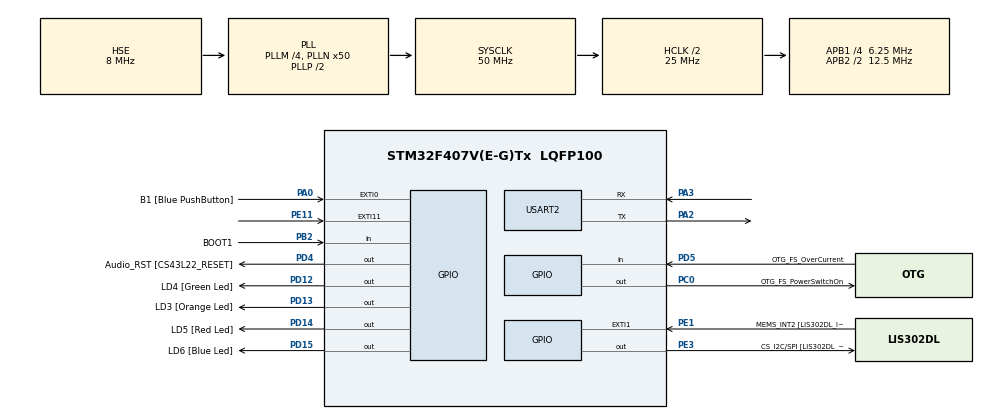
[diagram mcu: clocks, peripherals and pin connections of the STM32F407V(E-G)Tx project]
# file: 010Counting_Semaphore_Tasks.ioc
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Mcu.Family=STM32F4
Mcu.Name=STM32F407V(E-G)Tx
Mcu.Package=LQFP100
NVIC.EXTI15_10_IRQn=true\:6\:0\:true\:false\:true\:true\:false\:true
NVIC.PriorityGroup=NVIC_PRIORITYGROUP_4
NVIC.TIM6_DAC_IRQn=true\:0\:0\:false\:false\:true\:false\:true\:true
NVIC.TimeBase=TIM6_DAC_IRQn
NVIC.TimeBaseIP=TIM6
PA0-WKUP.GPIO_Label=B1 [Blue PushButton]
PA0-WKUP.GPIO_ModeDefaultEXTI=GPIO_MODE_IT_FALLING
PA0-WKUP.Signal=GPXTI0
PA10.GPIO_Label=OTG_FS_ID
PA10.GPIO_Mode=GPIO_MODE_AF_PP
PA10.GPIO_PuPd=GPIO_NOPULL
PA10.GPIO_Speed=GPIO_SPEED_FREQ_LOW
PA10.Signal=USB_OTG_FS_ID
PA11.GPIO_Label=OTG_FS_DM
PA11.GPIO_Mode=GPIO_MODE_AF_PP
PA11.GPIO_PuPd=GPIO_NOPULL
PA11.GPIO_Speed=GPIO_SPEED_FREQ_LOW
PA11.Signal=USB_OTG_FS_DM
PA12.GPIO_Label=OTG_FS_DP
PA12.GPIO_Mode=GPIO_MODE_AF_PP
PA12.GPIO_PuPd=GPIO_NOPULL
PA12.GPIO_Speed=GPIO_SPEED_FREQ_LOW
PA12.Signal=USB_OTG_FS_DP
PA13.GPIO_Label=SWDIO
PA13.Signal=SYS_JTMS-SWDIO
PA14.GPIO_Label=SWCLK
PA14.Signal=SYS_JTCK-SWCLK
PA2.Mode=Asynchronous
PA2.Signal=USART2_TX
PA3.Mode=Asynchronous
PA3.Signal=USART2_RX
PA4.GPIO_Label=I2S3_WS [CS43L22_LRCK]
PA4.GPIO_Mode=GPIO_MODE_AF_PP
PA4.GPIO_PuPd=GPIO_NOPULL
PA4.GPIO_Speed=GPIO_SPEED_FREQ_LOW
PA4.Signal=I2S3_WS
PA5.GPIO_Label=SPI1_SCK [LIS302DL_SCL/SPC]
PA5.GPIO_Mode=GPIO_MODE_AF_PP
PA5.GPIO_PuPd=GPIO_NOPULL
PA5.GPIO_Speed=GPIO_SPEED_FREQ_LOW
PA5.Signal=SPI1_SCK
PA6.GPIO_Label=SPI1_MISO [LIS302DL_SDO]
PA6.GPIO_Mode=GPIO_MODE_AF_PP
PA6.GPIO_PuPd=GPIO_NOPULL
PA6.GPIO_Speed=GPIO_SPEED_FREQ_LOW
PA6.Signal=SPI1_MISO
PA7.GPIO_Label=SPI1_MOSI [LIS302DL_SDA/SDI/SDO]
PA7.GPIO_Mode=GPIO_MODE_AF_PP
PA7.GPIO_PuPd=GPIO_NOPULL
PA7.GPIO_Speed=GPIO_SPEED_FREQ_LOW
PA7.Signal=SPI1_MOSI
PA9.GPIO_Label=VBUS_FS
PA9.GPIO_Mode=GPIO_MODE_INPUT
PA9.GPIO_PuPd=GPIO_NOPULL
PA9.Signal=USB_OTG_FS_VBUS
PB10.GPIO_Label=CLK_IN [MP45DT02_CLK]
PB10.GPIO_Mode=GPIO_MODE_AF_PP
PB10.GPIO_PuPd=GPIO_NOPULL
PB10.GPIO_Speed=GPIO_SPEED_FREQ_LOW
PB10.Signal=I2S2_CK
PB2.GPIO_Label=BOOT1
PB2.GPIO_Mode=GPIO_MODE_INPUT
PB2.GPIO_PuPd=GPIO_NOPULL
PB2.Signal=GPIO_Input
PB3.GPIO_Label=SWO
PB3.Signal=SYS_JTDO-SWO
PB6.GPIO_Label=Audio_SCL [CS43L22_SCL]
PB6.GPIO_Mode=GPIO_MODE_AF_OD
PB6.GPIO_PuPd=GPIO_NOPULL
PB6.GPIO_Speed=GPIO_SPEED_FREQ_LOW
PB6.Signal=I2C1_SCL
PB9.GPIO_Label=Audio_SDA [CS43L22_SDA]
PB9.GPIO_Mode=GPIO_MODE_AF_OD
PB9.GPIO_PuPd=GPIO_NOPULL
PB9.GPIO_Speed=GPIO_SPEED_FREQ_LOW
PB9.Signal=I2C1_SDA
PC0.GPIO_Label=OTG_FS_PowerSwitchOn
PC0.GPIO_PuPd=GPIO_NOPULL
PC0.GPIO_Speed=GPIO_SPEED_FREQ_LOW
PC0.PinState=GPIO_PIN_SET
PC0.Signal=GPIO_Output
PC10.GPIO_Label=I2S3_SCK [CS43L22_SCLK]
PC10.GPIO_Mode=GPIO_MODE_AF_PP
PC10.GPIO_PuPd=GPIO_NOPULL
PC10.GPIO_Speed=GPIO_SPEED_FREQ_LOW
PC10.Signal=I2S3_CK
PC12.GPIO_Label=I2S3_SD [CS43L22_SDIN]
PC12.GPIO_Mode=GPIO_MODE_AF_PP
PC12.GPIO_PuPd=GPIO_NOPULL
PC12.GPIO_Speed=GPIO_SPEED_FREQ_LOW
PC12.Signal=I2S3_SD
PC14-OSC32_IN.GPIO_Label=PC14-OSC32_IN
PC14-OSC32_IN.Signal=RCC_OSC32_IN
PC15-OSC32_OUT.GPIO_Label=PC15-OSC32_OUT
PC15-OSC32_OUT.Signal=RCC_OSC32_OUT
PC3.GPIO_Label=PDM_OUT [MP45DT02_DOUT]
PC3.GPIO_Mode=GPIO_MODE_AF_PP
PC3.GPIO_PuPd=GPIO_NOPULL
PC3.GPIO_Speed=GPIO_SPEED_FREQ_LOW
PC3.Signal=I2S2_SD
PC7.GPIO_Label=I2S3_MCK [CS43L22_MCLK]
PC7.GPIO_Mode=GPIO_MODE_AF_PP
PC7.GPIO_PuPd=GPIO_NOPULL
PC7.GPIO_Speed=GPIO_SPEED_FREQ_LOW
PC7.Signal=I2S3_MCK
PD12.GPIO_Label=LD4 [Green Led]
PD12.GPIO_PuPd=GPIO_NOPULL
PD12.GPIO_Speed=GPIO_SPEED_FREQ_LOW
PD12.Signal=GPIO_Output
PD13.GPIO_Label=LD3 [Orange Led]
PD13.GPIO_PuPd=GPIO_NOPULL
PD13.GPIO_Speed=GPIO_SPEED_FREQ_LOW
PD13.Signal=GPIO_Output
PD14.GPIO_Label=LD5 [Red Led]
PD14.GPIO_PuPd=GPIO_NOPULL
PD14.GPIO_Speed=GPIO_SPEED_FREQ_LOW
PD14.Signal=GPIO_Output
PD15.GPIO_Label=LD6 [Blue Led]
PD15.GPIO_ModeDefaultOutputPP=GPIO_MODE_OUTPUT_PP
PD15.GPIO_PuPd=GPIO_NOPULL
PD15.GPIO_Speed=GPIO_SPEED_FREQ_LOW
PD15.Signal=GPIO_Output
PD4.GPIO_Label=Audio_RST [CS43L22_RESET]
PD4.GPIO_PuPd=GPIO_NOPULL
PD4.GPIO_Speed=GPIO_SPEED_FREQ_LOW
PD4.Signal=GPIO_Output
PD5.GPIO_Label=OTG_FS_OverCurrent
PD5.GPIO_Mode=GPIO_MODE_INPUT
PD5.GPIO_PuPd=GPIO_NOPULL
PD5.Signal=GPIO_Input
PE1.GPIO_Label=MEMS_INT2 [LIS302DL_INT2]
PE1.GPIO_ModeDefaultEXTI=GPIO_MODE_EVT_RISING
PE1.GPIO_PuPd=GPIO_NOPULL
PE1.Signal=GPXTI1
PE11.Signal=GPXTI11
PE3.GPIO_Label=CS_I2C/SPI [LIS302DL_CS_I2C/SPI]
PE3.GPIO_PuPd=GPIO_NOPULL
PE3.GPIO_Speed=GPIO_SPEED_FREQ_LOW
PE3.Signal=GPIO_Output
PH0-OSC_IN.GPIO_Label=PH0-OSC_IN
PH0-OSC_IN.Mode=HSE-External-Oscillator
PH0-OSC_IN.Signal=RCC_OSC_IN
PH1-OSC_OUT.GPIO_Label=PH1-OSC_OUT
PH1-OSC_OUT.Mode=HSE-External-Oscillator
PH1-OSC_OUT.Signal=RCC_OSC_OUT
ProjectManager.HeapSize=0x200
ProjectManager.StackSize=0x400
ProjectManager.TargetToolchain=STM32CubeIDE
RCC.48MHZClocksFreq_Value=14285714.285714285
RCC.AHBCLKDivider=RCC_SYSCLK_DIV2
RCC.AHBFreq_Value=25000000
RCC.APB1CLKDivider=RCC_HCLK_DIV4
RCC.APB1Freq_Value=6250000
RCC.APB1TimFreq_Value=12500000
RCC.APB2CLKDivider=RCC_HCLK_DIV2
RCC.APB2Freq_Value=12500000
RCC.APB2TimFreq_Value=25000000
RCC.CortexFreq_Value=25000000
RCC.HCLKFreq_Value=25000000
RCC.HSE_VALUE=8000000
RCC.HSI_VALUE=16000000
RCC.LSE_VALUE=32768
RCC.PLLM=4
RCC.PLLN=50
RCC.PLLQ=7
RCC.PLLSourceVirtual=RCC_PLLSOURCE_HSE
RCC.SYSCLKFreq_VALUE=50000000
RCC.SYSCLKSource=RCC_SYSCLKSOURCE_PLLCLK
RCC.VCOOutputFreq_Value=100000000
USART2.VirtualMode=VM_ASYNC
VP_SYS_VS_tim6.Mode=TIM6
board=STM32F407G-DISC1

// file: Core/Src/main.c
/* USER CODE BEGIN Header */
/**
  ******************************************************************************
  * @file           : main.c
  * @brief          : Main program body
  ******************************************************************************
  * @attention
  *
  * Copyright (c) 2024 STMicroelectronics.
  * All rights reserved.
  *
  * This software is licensed under terms that can be found in the LICENSE file
  * in the root directory of this software component.
  * If no LICENSE file comes with this software, it is provided AS-IS.
  *
  ******************************************************************************
  */
/* USER CODE END Header */
#include "main.h"

/* USER CODE BEGIN Includes */
#include <stdio.h>
#include <string.h>
#include <stdlib.h>
#include "FreeRTOS.h"
#include "task.h"
#include "semphr.h"
#include "SEGGER_RTT.h"
/* USER CODE END Includes */

/* USER CODE BEGIN PD */
#define DWT_CTRL	(*(volatile uint32_t*)0xE0001000)

/* USER CODE END PD */

UART_HandleTypeDef huart2;

/* USER CODE BEGIN PV */

volatile BaseType_t status_button = 0;

/* USER CODE END PV */

void SystemClock_Config(void);
static void MX_GPIO_Init(void);
static void MX_USART2_UART_Init(void);
/* USER CODE BEGIN PFP */

//global space for some variable
char usr_msg[250] = {0};
TaskHandle_t xTaskHandle1=NULL;
TaskHandle_t xTaskHandle2=NULL;

/* The tasks to be created. */
static void vHandlerTask( void *pvParameters );
static void vPeriodicTask( void *pvParameters );

/* Declare a variable of type xSemaphoreHandle.  This is used to reference the
semaphore that is used to synchronize a task with an interrupt. */
xSemaphoreHandle xCountingSemaphore;

/* USER CODE END PFP */

int main(void)
{

  /* MCU Configuration--------------------------------------------------------*/

  /* Reset of all peripherals, Initializes the Flash interface and the Systick. */
  HAL_Init();

  /* Configure the system clock */
  SystemClock_Config();

  /* Initialize all configured peripherals */
  MX_GPIO_Init();
  MX_USART2_UART_Init();
  /* USER CODE BEGIN 2 */

  DWT->CYCCNT = 0;

  DWT->CTRL |= DWT_CTRL_CYCCNTENA_Msk;

  SEGGER_SYSVIEW_Conf();

  sprintf(usr_msg, "Demo of usage of counting semaphore\r\n");
  SEGGER_RTT_WriteString(0, usr_msg);

  /* Before a semaphore is used it must be explicitly created.  In this example
  	a counting semaphore is created.  The semaphore is created to have a maximum
  	count value of 10, and an initial count value of 0. */
  xCountingSemaphore = xSemaphoreCreateCounting(10, 0);

  /* Check the semaphore was created successfully. */
  configASSERT(xCountingSemaphore != NULL);

  /* Create the 'handler' task.  This is the task that will be synchronized
  with the interrupt.  The handler task is created with a high priority to
  ensure it runs immediately after the interrupt exits.  In this case a
  priority of 3 is chosen. */
  xTaskCreate( vHandlerTask, "Handler", 500, NULL, 1, NULL );

  /* Create the task that will periodically generate a software interrupt.
  This is created with a priority below the handler task to ensure it will
  get preempted each time the handler task exist the Blocked state. */
  xTaskCreate( vPeriodicTask, "Periodic", 500, NULL, 3, NULL );

  /* Start the scheduler so the created tasks start executing. */
  vTaskStartScheduler();

  /* USER CODE END 2 */

  /* Infinite loop */
  while (1)
  {

  }
}

void SystemClock_Config(void)
{
  RCC_OscInitTypeDef RCC_OscInitStruct = {0};
  RCC_ClkInitTypeDef RCC_ClkInitStruct = {0};

  /** Configure the main internal regulator output voltage
  */
  __HAL_RCC_PWR_CLK_ENABLE();
  __HAL_PWR_VOLTAGESCALING_CONFIG(PWR_REGULATOR_VOLTAGE_SCALE1);

  /** Initializes the RCC Oscillators according to the specified parameters
  * in the RCC_OscInitTypeDef structure.
  */
  RCC_OscInitStruct.OscillatorType = RCC_OSCILLATORTYPE_HSE;
  RCC_OscInitStruct.HSEState = RCC_HSE_ON;
  RCC_OscInitStruct.PLL.PLLState = RCC_PLL_ON;
  RCC_OscInitStruct.PLL.PLLSource = RCC_PLLSOURCE_HSE;
  RCC_OscInitStruct.PLL.PLLM = 4;
  RCC_OscInitStruct.PLL.PLLN = 50;
  RCC_OscInitStruct.PLL.PLLP = RCC_PLLP_DIV2;
  RCC_OscInitStruct.PLL.PLLQ = 7;
  if (HAL_RCC_OscConfig(&RCC_OscInitStruct) != HAL_OK)
  {
    Error_Handler();
  }

  /** Initializes the CPU, AHB and APB buses clocks
  */
  RCC_ClkInitStruct.ClockType = RCC_CLOCKTYPE_HCLK|RCC_CLOCKTYPE_SYSCLK
                              |RCC_CLOCKTYPE_PCLK1|RCC_CLOCKTYPE_PCLK2;
  RCC_ClkInitStruct.SYSCLKSource = RCC_SYSCLKSOURCE_PLLCLK;
  RCC_ClkInitStruct.AHBCLKDivider = RCC_SYSCLK_DIV2;
  RCC_ClkInitStruct.APB1CLKDivider = RCC_HCLK_DIV4;
  RCC_ClkInitStruct.APB2CLKDivider = RCC_HCLK_DIV2;

  if (HAL_RCC_ClockConfig(&RCC_ClkInitStruct, FLASH_LATENCY_0) != HAL_OK)
  {
    Error_Handler();
  }
}

static void MX_USART2_UART_Init(void)
{

  huart2.Instance = USART2;
  huart2.Init.BaudRate = 115200;
  huart2.Init.WordLength = UART_WORDLENGTH_8B;
  huart2.Init.StopBits = UART_STOPBITS_1;
  huart2.Init.Parity = UART_PARITY_NONE;
  huart2.Init.Mode = UART_MODE_TX_RX;
  huart2.Init.HwFlowCtl = UART_HWCONTROL_NONE;
  huart2.Init.OverSampling = UART_OVERSAMPLING_16;
  if (HAL_UART_Init(&huart2) != HAL_OK)
  {
    Error_Handler();
  }

}

static void MX_GPIO_Init(void)
{
  GPIO_InitTypeDef GPIO_InitStruct = {0};

  /* GPIO Ports Clock Enable */
  __HAL_RCC_GPIOE_CLK_ENABLE();
  __HAL_RCC_GPIOC_CLK_ENABLE();
  __HAL_RCC_GPIOH_CLK_ENABLE();
  __HAL_RCC_GPIOA_CLK_ENABLE();
  __HAL_RCC_GPIOB_CLK_ENABLE();
  __HAL_RCC_GPIOD_CLK_ENABLE();

  /*Configure GPIO pin Output Level */
  HAL_GPIO_WritePin(CS_I2C_SPI_GPIO_Port, CS_I2C_SPI_Pin, GPIO_PIN_RESET);

  /*Configure GPIO pin Output Level */
  HAL_GPIO_WritePin(OTG_FS_PowerSwitchOn_GPIO_Port, OTG_FS_PowerSwitchOn_Pin, GPIO_PIN_SET);

  /*Configure GPIO pin Output Level */
  HAL_GPIO_WritePin(GPIOD, LD4_Pin|LD3_Pin|LD5_Pin|LD6_Pin
                          |Audio_RST_Pin, GPIO_PIN_RESET);

  /*Configure GPIO pin : CS_I2C_SPI_Pin */
  GPIO_InitStruct.Pin = CS_I2C_SPI_Pin;
  GPIO_InitStruct.Mode = GPIO_MODE_OUTPUT_PP;
  GPIO_InitStruct.Pull = GPIO_NOPULL;
  GPIO_InitStruct.Speed = GPIO_SPEED_FREQ_LOW;
  HAL_GPIO_Init(CS_I2C_SPI_GPIO_Port, &GPIO_InitStruct);

  /*Configure GPIO pin : OTG_FS_PowerSwitchOn_Pin */
  GPIO_InitStruct.Pin = OTG_FS_PowerSwitchOn_Pin;
  GPIO_InitStruct.Mode = GPIO_MODE_OUTPUT_PP;
  GPIO_InitStruct.Pull = GPIO_NOPULL;
  GPIO_InitStruct.Speed = GPIO_SPEED_FREQ_LOW;
  HAL_GPIO_Init(OTG_FS_PowerSwitchOn_GPIO_Port, &GPIO_InitStruct);

  /*Configure GPIO pin : PDM_OUT_Pin */
  GPIO_InitStruct.Pin = PDM_OUT_Pin;
  GPIO_InitStruct.Mode = GPIO_MODE_AF_PP;
  GPIO_InitStruct.Pull = GPIO_NOPULL;
  GPIO_InitStruct.Speed = GPIO_SPEED_FREQ_LOW;
  GPIO_InitStruct.Alternate = GPIO_AF5_SPI2;
  HAL_GPIO_Init(PDM_OUT_GPIO_Port, &GPIO_InitStruct);

  /*Configure GPIO pin : B1_Pin */
  GPIO_InitStruct.Pin = B1_Pin;
  GPIO_InitStruct.Mode = GPIO_MODE_IT_FALLING;
  GPIO_InitStruct.Pull = GPIO_NOPULL;
  HAL_GPIO_Init(B1_GPIO_Port, &GPIO_InitStruct);

  /*Configure GPIO pin : I2S3_WS_Pin */
  GPIO_InitStruct.Pin = I2S3_WS_Pin;
  GPIO_InitStruct.Mode = GPIO_MODE_AF_PP;
  GPIO_InitStruct.Pull = GPIO_NOPULL;
  GPIO_InitStruct.Speed = GPIO_SPEED_FREQ_LOW;
  GPIO_InitStruct.Alternate = GPIO_AF6_SPI3;
  HAL_GPIO_Init(I2S3_WS_GPIO_Port, &GPIO_InitStruct);

  /*Configure GPIO pins : SPI1_SCK_Pin SPI1_MISO_Pin SPI1_MOSI_Pin */
  GPIO_InitStruct.Pin = SPI1_SCK_Pin|SPI1_MISO_Pin|SPI1_MOSI_Pin;
  GPIO_InitStruct.Mode = GPIO_MODE_AF_PP;
  GPIO_InitStruct.Pull = GPIO_NOPULL;
  GPIO_InitStruct.Speed = GPIO_SPEED_FREQ_LOW;
  GPIO_InitStruct.Alternate = GPIO_AF5_SPI1;
  HAL_GPIO_Init(GPIOA, &GPIO_InitStruct);

  /*Configure GPIO pin : BOOT1_Pin */
  GPIO_InitStruct.Pin = BOOT1_Pin;
  GPIO_InitStruct.Mode = GPIO_MODE_INPUT;
  GPIO_InitStruct.Pull = GPIO_NOPULL;
  HAL_GPIO_Init(BOOT1_GPIO_Port, &GPIO_InitStruct);

  /*Configure GPIO pin : PE11 */
  GPIO_InitStruct.Pin = GPIO_PIN_11;
  GPIO_InitStruct.Mode = GPIO_MODE_IT_RISING;
  GPIO_InitStruct.Pull = GPIO_NOPULL;
  HAL_GPIO_Init(GPIOE, &GPIO_InitStruct);

  /*Configure GPIO pin : CLK_IN_Pin */
  GPIO_InitStruct.Pin = CLK_IN_Pin;
  GPIO_InitStruct.Mode = GPIO_MODE_AF_PP;
  GPIO_InitStruct.Pull = GPIO_NOPULL;
  GPIO_InitStruct.Speed = GPIO_SPEED_FREQ_LOW;
  GPIO_InitStruct.Alternate = GPIO_AF5_SPI2;
  HAL_GPIO_Init(CLK_IN_GPIO_Port, &GPIO_InitStruct);

  /*Configure GPIO pins : LD4_Pin LD3_Pin LD5_Pin LD6_Pin
                           Audio_RST_Pin */
  GPIO_InitStruct.Pin = LD4_Pin|LD3_Pin|LD5_Pin|LD6_Pin
                          |Audio_RST_Pin;
  GPIO_InitStruct.Mode = GPIO_MODE_OUTPUT_PP;
  GPIO_InitStruct.Pull = GPIO_NOPULL;
  GPIO_InitStruct.Speed = GPIO_SPEED_FREQ_LOW;
  HAL_GPIO_Init(GPIOD, &GPIO_InitStruct);

  /*Configure GPIO pins : I2S3_MCK_Pin I2S3_SCK_Pin I2S3_SD_Pin */
  GPIO_InitStruct.Pin = I2S3_MCK_Pin|I2S3_SCK_Pin|I2S3_SD_Pin;
  GPIO_InitStruct.Mode = GPIO_MODE_AF_PP;
  GPIO_InitStruct.Pull = GPIO_NOPULL;
  GPIO_InitStruct.Speed = GPIO_SPEED_FREQ_LOW;
  GPIO_InitStruct.Alternate = GPIO_AF6_SPI3;
  HAL_GPIO_Init(GPIOC, &GPIO_InitStruct);

  /*Configure GPIO pin : VBUS_FS_Pin */
  GPIO_InitStruct.Pin = VBUS_FS_Pin;
  GPIO_InitStruct.Mode = GPIO_MODE_INPUT;
  GPIO_InitStruct.Pull = GPIO_NOPULL;
  HAL_GPIO_Init(VBUS_FS_GPIO_Port, &GPIO_InitStruct);

  /*Configure GPIO pins : OTG_FS_ID_Pin OTG_FS_DM_Pin OTG_FS_DP_Pin */
  GPIO_InitStruct.Pin = OTG_FS_ID_Pin|OTG_FS_DM_Pin|OTG_FS_DP_Pin;
  GPIO_InitStruct.Mode = GPIO_MODE_AF_PP;
  GPIO_InitStruct.Pull = GPIO_NOPULL;
  GPIO_InitStruct.Speed = GPIO_SPEED_FREQ_LOW;
  GPIO_InitStruct.Alternate = GPIO_AF10_OTG_FS;
  HAL_GPIO_Init(GPIOA, &GPIO_InitStruct);

  /*Configure GPIO pin : OTG_FS_OverCurrent_Pin */
  GPIO_InitStruct.Pin = OTG_FS_OverCurrent_Pin;
  GPIO_InitStruct.Mode = GPIO_MODE_INPUT;
  GPIO_InitStruct.Pull = GPIO_NOPULL;
  HAL_GPIO_Init(OTG_FS_OverCurrent_GPIO_Port, &GPIO_InitStruct);

  /*Configure GPIO pins : Audio_SCL_Pin Audio_SDA_Pin */
  GPIO_InitStruct.Pin = Audio_SCL_Pin|Audio_SDA_Pin;
  GPIO_InitStruct.Mode = GPIO_MODE_AF_OD;
  GPIO_InitStruct.Pull = GPIO_NOPULL;
  GPIO_InitStruct.Speed = GPIO_SPEED_FREQ_LOW;
  GPIO_InitStruct.Alternate = GPIO_AF4_I2C1;
  HAL_GPIO_Init(GPIOB, &GPIO_InitStruct);

  /*Configure GPIO pin : MEMS_INT2_Pin */
  GPIO_InitStruct.Pin = MEMS_INT2_Pin;
  GPIO_InitStruct.Mode = GPIO_MODE_EVT_RISING;
  GPIO_InitStruct.Pull = GPIO_NOPULL;
  HAL_GPIO_Init(MEMS_INT2_GPIO_Port, &GPIO_InitStruct);

  /* EXTI interrupt init*/
  HAL_NVIC_SetPriority(EXTI15_10_IRQn, 6, 0);
  HAL_NVIC_EnableIRQ(EXTI15_10_IRQn);

}

/* USER CODE BEGIN 4 */

static void vHandlerTask( void *pvParameters )
{
	/* As per most tasks, this task is implemented within an infinite loop. */
	for( ;; )
	{
		/* Use the semaphore to wait for the event.  The semaphore was created
		before the scheduler was started so before this task ran for the first
		time.  The task blocks indefinitely meaning this function call will only
		return once the semaphore has been successfully obtained - so there is no
		need to check the returned value. */
		xSemaphoreTake( xCountingSemaphore, portMAX_DELAY );

		/* To get here the event must have occurred.  Process the event (in this
		case we just print out a message). */
		sprintf(usr_msg, "Handler task - Processing event.\r\n");
		SEGGER_RTT_WriteString(0, usr_msg);
	}
}
/*-----------------------------------------------------------*/

static void vPeriodicTask( void *pvParameters )
{
	/* As per most tasks, this task is implemented within an infinite loop. */
	for( ;; )
	{
		/* This task is just used to 'simulate' an interrupt.  This is done by
		periodically generating a software interrupt. */
		vTaskDelay( pdMS_TO_TICKS(500) );

		/* Generate the interrupt, printing a message both before hand and
		afterwards so the sequence of execution is evident from the output. */
        sprintf(usr_msg, "Periodic task - Pending the interrupt.\r\n" );
        SEGGER_RTT_WriteString(0, usr_msg);

        //pend the interrupt
        NVIC_SetPendingIRQ(EXTI15_10_IRQn);

        sprintf(usr_msg, "Periodic task - Resuming.\r\n" );
        SEGGER_RTT_WriteString(0, usr_msg);

	}
}

void EXTI15_10_IRQHandlerCallback(void)
{
	traceISR_ENTER();
	portBASE_TYPE xHigherPriorityTaskWoken = pdFALSE;

	/* 'Give' the semaphore multiple times.  The first will unblock the handler
	task, the following 'gives' are to demonstrate that the semaphore latches
	the events to allow the handler task to process them in turn without any
	events getting lost.  This simulates multiple interrupts being taken by the
	processor, even though in this case the events are simulated within a single
	interrupt occurrence.*/
	sprintf(usr_msg,"==>Button_Handler\r\n");
	SEGGER_RTT_WriteString(0, usr_msg);

	xSemaphoreGiveFromISR( xCountingSemaphore, &xHigherPriorityTaskWoken );
	xSemaphoreGiveFromISR( xCountingSemaphore, &xHigherPriorityTaskWoken );
	xSemaphoreGiveFromISR( xCountingSemaphore, &xHigherPriorityTaskWoken );
	xSemaphoreGiveFromISR( xCountingSemaphore, &xHigherPriorityTaskWoken );
	xSemaphoreGiveFromISR( xCountingSemaphore, &xHigherPriorityTaskWoken );

	/* Clear the software interrupt bit using the interrupt controllers  */

	/* Giving the semaphore may have unblocked a task - if it did and the
	unblocked task has a priority equal to or above the currently executing
	task then xHigherPriorityTaskWoken will have been set to pdTRUE and
	portEND_SWITCHING_ISR() will force a context switch to the newly unblocked
	higher priority task.

	NOTE: The syntax for forcing a context switch within an ISR varies between
	FreeRTOS ports.  The portEND_SWITCHING_ISR() macro is provided as part of
	the Cortex M3 port layer for this purpose.  taskYIELD() must never be called
	from an ISR! */
	portEND_SWITCHING_ISR( xHigherPriorityTaskWoken );
}

void HAL_UART_RxCpltCallback(UART_HandleTypeDef *huart)
{

}

/* USER CODE END 4 */

void HAL_TIM_PeriodElapsedCallback(TIM_HandleTypeDef *htim)
{
  if (htim->Instance == TIM6) {
    HAL_IncTick();
  }
}

void Error_Handler(void)
{
  __disable_irq();
  while (1)
  {
  }
}
